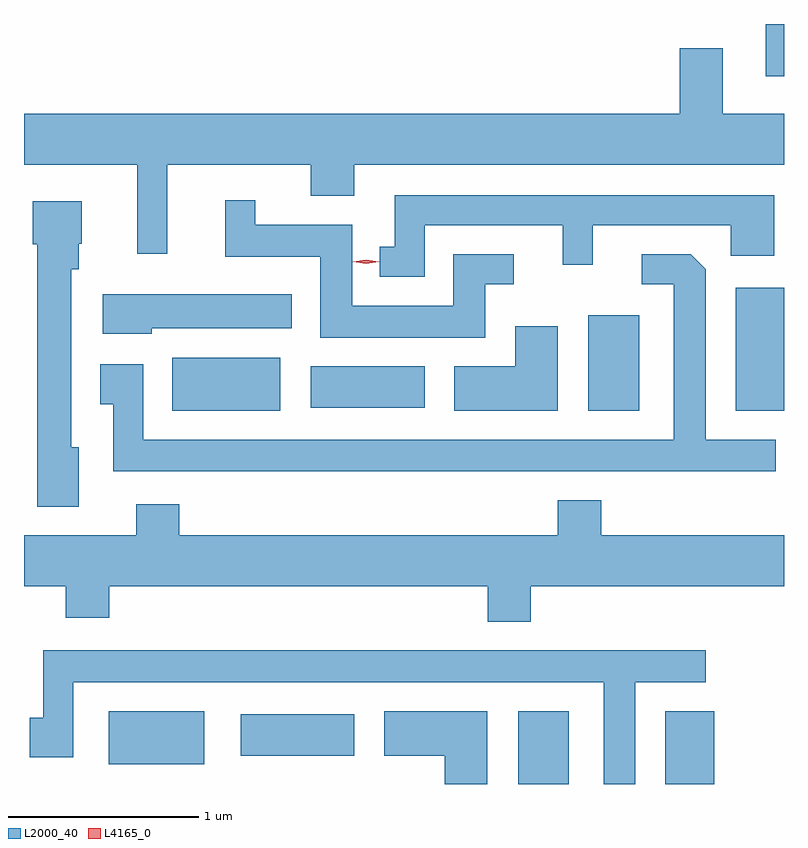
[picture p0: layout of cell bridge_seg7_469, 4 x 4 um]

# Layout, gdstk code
import gdstk
lib = gdstk.Library(unit=1e-6, precision=1e-09)
def R(c, l, rs):  # rectangles x0, y0, x1, y1
    for r in rs: c.add(gdstk.rectangle(r[:2], r[2:], *l))
def P(c, l, *ps):  # polygons
    for p in ps: c.add(gdstk.Polygon(p, *l))
L2000_40 = (2000, 40)
L4165_0 = (4165, 0)

bridge_seg7_469 = lib.new_cell('bridge_seg7_469')
R(bridge_seg7_469, L2000_40, [(1449.921,1728.816,1450.189,1729.199), (1450.696,1728.816,1450.954,1729.199), (1447.766,1728.921,1448.269,1729.199), (1448.461,1728.966,1449.059,1729.184), (1448.101,1730.781,1448.669,1731.059), (1450.291,1730.781,1450.559,1731.284), (1451.066,1730.781,1451.321,1731.429), (1448.831,1730.796,1449.429,1731.014), (1451.226,1732.541,1451.321,1732.816)])
P(bridge_seg7_469, L2000_40, [(1448.074,1732.076),(1448.831,1732.076),(1448.831,1731.911),(1449.059,1731.911),(1449.059,1732.076),(1451.321,1732.076),(1451.321,1732.344),(1450.999,1732.344),(1450.999,1732.689),(1450.771,1732.689),(1450.771,1732.344),(1447.321,1732.344),(1447.321,1732.076),(1447.916,1732.076),(1447.916,1731.608),(1448.074,1731.608)],
  [(1449.429,1731.756),(1450.156,1731.756),(1450.156,1731.548),(1450.314,1731.548),(1450.314,1731.756),(1451.041,1731.756),(1451.041,1731.596),(1451.269,1731.596),(1451.269,1731.914),(1449.271,1731.914),(1449.271,1731.644),(1449.193,1731.644),(1449.193,1731.486),(1449.429,1731.486)],
  [(1449.749,1731.446),(1449.898,1731.446),(1449.898,1731.604),(1449.581,1731.604),(1449.581,1731.334),(1449.049,1731.334),(1449.049,1731.759),(1448.539,1731.759),(1448.539,1731.888),(1448.381,1731.888),(1448.381,1731.591),(1448.881,1731.591),(1448.881,1731.166),(1449.749,1731.166)],
  [(1447.609,1730.589),(1447.569,1730.589),(1447.569,1731.526),(1447.609,1731.526),(1447.609,1731.66),(1447.624,1731.66),(1447.624,1731.884),(1447.366,1731.884),(1447.366,1731.656),(1447.391,1731.656),(1447.391,1730.276),(1447.609,1730.276)],
  [(1451.278,1730.629),(1450.909,1730.629),(1450.909,1731.524),(1450.829,1731.604),(1450.573,1731.604),(1450.573,1731.446),(1450.741,1731.446),(1450.741,1730.629),(1447.949,1730.629),(1447.949,1731.024),(1447.721,1731.024),(1447.721,1730.816),(1447.791,1730.816),(1447.791,1730.461),(1451.278,1730.461)],
  [(1447.994,1731.216),(1448.729,1731.216),(1448.729,1731.394),(1447.736,1731.394),(1447.736,1731.186),(1447.994,1731.186)],
  [(1450.129,1731.224),(1449.906,1731.224),(1449.906,1731.014),(1449.586,1731.014),(1449.586,1730.781),(1450.129,1730.781)],
  [(1449.989,1729.856),(1451.321,1729.856),(1451.321,1730.124),(1450.359,1730.124),(1450.359,1730.309),(1450.131,1730.309),(1450.131,1730.124),(1448.139,1730.124),(1448.139,1730.289),(1447.911,1730.289),(1447.911,1730.124),(1447.321,1730.124),(1447.321,1729.856),(1447.541,1729.856),(1447.541,1729.691),(1447.769,1729.691),(1447.769,1729.856),(1449.761,1729.856),(1449.761,1729.671),(1449.989,1729.671)],
  [(1450.539,1729.351),(1450.908,1729.351),(1450.908,1729.519),(1447.421,1729.519),(1447.421,1729.164),(1447.351,1729.164),(1447.351,1728.956),(1447.579,1728.956),(1447.579,1729.351),(1450.371,1729.351),(1450.371,1728.816),(1450.539,1728.816)],
  [(1449.759,1729.199),(1449.216,1729.199),(1449.216,1728.966),(1449.536,1728.966),(1449.536,1728.816),(1449.759,1728.816)])
P(bridge_seg7_469, L4165_0, [(1449.121,1731.555),(1449.052,1731.564),(1449.052,1731.564),(1449.052,1731.565),(1449.121,1731.574),(1449.191,1731.565),(1449.191,1731.565),(1449.191,1731.564)])

lib.write_gds('bridge_seg7_469.gds')
